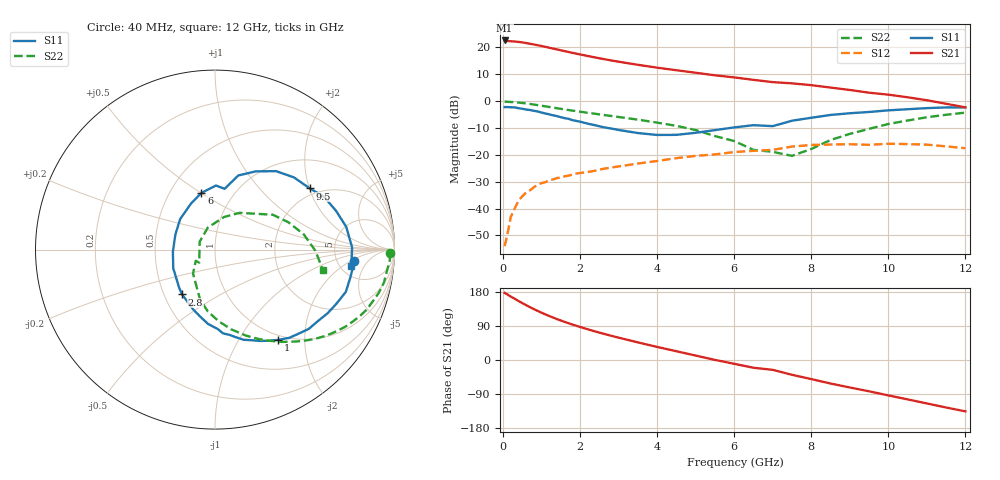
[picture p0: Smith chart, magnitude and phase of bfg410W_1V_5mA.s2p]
! Filename: 15bfg410.001
! BFG410W Field B1
! V1=8.630E-001V,V2=1.000E+000V, I1=7.879E-005A, I2=5.010E-003A
# GHz  S  MA  R 50
!  S11  S21  S12  S22
!Freq(GHz)  Mag  Ang  Mag  Ang  Mag  Ang  Mag  Ang
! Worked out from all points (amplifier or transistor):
!   44 points, 40 MHz to 12 GHz, reference 50 ohm
!   highest |S21| = 22.6 dB at 40 MHz (marker M1)
!   |S21| within 3 dB of that: start of sweep to 1.289 GHz
!   unconditionally stable (mu >= 1): 2.467 GHz to end of sweep
!   at 700 MHz: K = 0.34, MSG = 27.3 dB, |S12| = -33.2 dB
!   at 2.4 GHz: K = 0.99, MSG = 21.0 dB, |S12| = -25.8 dB
!   at 12 GHz: K = 1.61, MAG = 3.0 dB, |S12| = -17.5 dB
!   S11 on the Smith chart (normalised r, x): 40 MHz: 7.15, -2.27; 1 GHz: 0.93, -1.50; 2.8 GHz: 0.62, -0.34; 6 GHz: 0.71, +0.50; 9.5 GHz: 1.79, +2.02; 12 GHz: 6.33, -2.71
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0.04  0.775 -4.7  13.49 177.2  0.002 42.6  0.975 -1.2
0.3  0.766 -17.9  12.89 161.8  0.01 77.9  0.959 -11.1
0.5  0.721 -29.4  12.41 150.0  0.017 71.3  0.925 -18.2
0.7  0.684 -40.3  11.7 139.3  0.022 66.8  0.887 -24.8
0.9  0.643 -49.8  10.99 129.5  0.028 60.9  0.844 -30.6
1  0.614 -55.0  10.61 124.8  0.03 58.2  0.821 -33.2
1.3  0.545 -67.9  9.511 111.9  0.035 52.6  0.758 -40.4
1.6  0.482 -80.3  8.532 100.5  0.04 48.2  0.701 -46.5
1.9  0.429 -91.5  7.661 90.3  0.045 44.2  0.651 -52.1
2.2  0.381 -102.8  6.923 81.0  0.048 41.2  0.607 -57.2
2.8  0.31 -126.2  5.742 64.1  0.058 36.7  0.531 -67.0
3.5  0.255 -155.8  4.749 46.5  0.069 30.4  0.453 -78.6
4.5  0.236 159.4  3.763 23.1  0.087 19.0  0.347 -96.6
5.5  0.289 117.7  3.028 0.2  0.102 4.8  0.224 -118.0
6  0.325 103.4  2.77 -10.0  0.113 -1.6  0.181 -132.6
6.5  0.357 89.1  2.491 -20.5  0.119 -8.2  0.124 -149.7
7  0.343 81.0  2.261 -26.0  0.124 -3.9  0.114 -140.3
7.5  0.433 72.5  2.146 -39.1  0.143 -18.5  0.096 153.0
8.5  0.554 52.1  1.792 -62.1  0.156 -40.4  0.189 74.3
9.5  0.629 32.8  1.437 -82.6  0.154 -59.7  0.305 40.8
10.5  0.708 17.8  1.181 -103.9  0.159 -78.9  0.436 20.5
12  0.765 -6.7  0.765 -135.5  0.133 -115.1  0.612 -10.6
